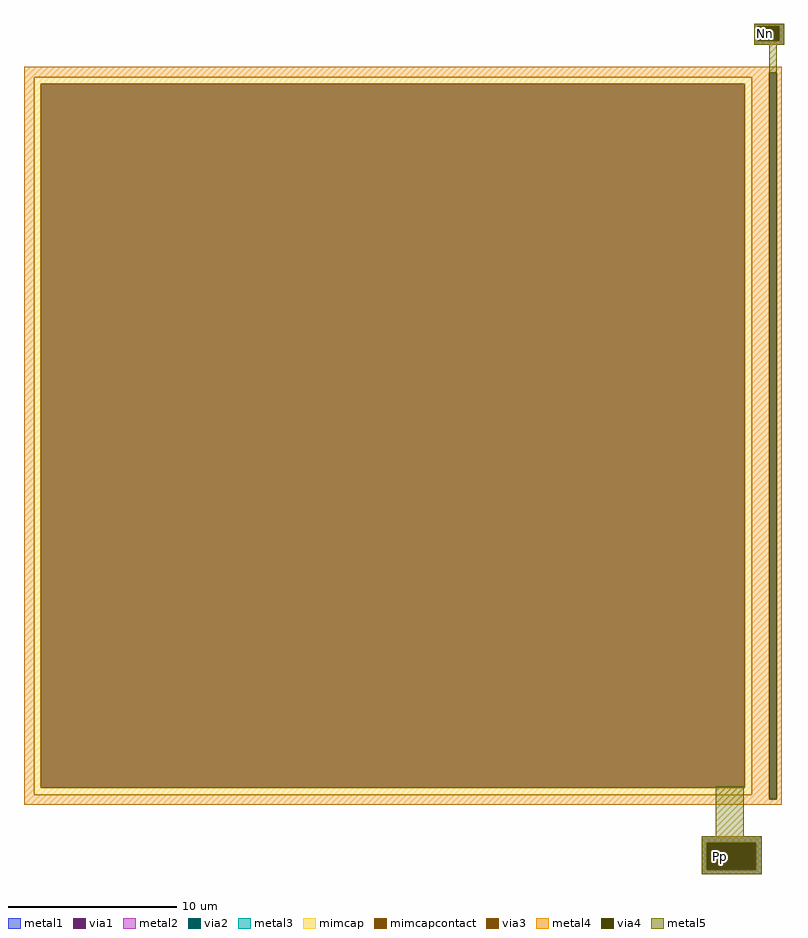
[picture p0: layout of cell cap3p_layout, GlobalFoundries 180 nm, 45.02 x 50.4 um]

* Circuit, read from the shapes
.subckt cap3p_layout Pp Nn
XC1 Pp Nn cap_mim_2f0fF c_width=42.5u c_length=42.5u
.ends

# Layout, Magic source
magic
tech gf180mcuC
magscale 1 10
<< metal1 >>
rect 8531 9224 8884 9253
rect 8531 9048 8575 9224
rect 8830 9048 8884 9224
rect 8531 9005 8884 9048
rect 7909 -453 8620 -372
rect 7909 -774 7971 -453
rect 8552 -774 8620 -453
rect 7909 -826 8620 -774
<< via1 >>
rect 8575 9048 8830 9224
rect 7971 -774 8552 -453
<< metal2 >>
rect 8531 9224 8884 9253
rect 8531 9048 8575 9224
rect 8830 9048 8884 9224
rect 8531 9005 8884 9048
rect 7909 -453 8620 -372
rect 7909 -774 7971 -453
rect 8552 -774 8620 -453
rect 7909 -826 8620 -774
<< via2 >>
rect 8575 9048 8830 9224
rect 7971 -774 8552 -453
<< metal3 >>
rect 8531 9224 8884 9253
rect 8531 9048 8575 9224
rect 8830 9048 8884 9224
rect 8531 9005 8884 9048
rect 7909 -453 8620 -372
rect 7909 -774 7971 -453
rect 8552 -774 8620 -453
rect 7909 -826 8620 -774
<< via3 >>
rect 8575 9048 8830 9224
rect 7971 -774 8552 -453
<< metal4 >>
rect 8531 9224 8884 9253
rect 8531 9048 8575 9224
rect 8830 9048 8884 9224
rect 8531 9005 8884 9048
rect 7909 -453 8620 -372
rect 7909 -774 7971 -453
rect 8552 -774 8620 -453
rect 7909 -826 8620 -774
<< via4 >>
rect 8575 9048 8830 9224
rect 7971 -774 8552 -453
<< metal5 >>
rect 8531 9224 8884 9253
rect 8531 9048 8575 9224
rect 8830 9048 8884 9224
rect 8531 9005 8884 9048
rect 8710 8683 8798 9005
rect 8078 -372 8409 217
rect 7909 -453 8620 -372
rect 7909 -774 7971 -453
rect 8552 -774 8620 -453
rect 7909 -826 8620 -774
use mim_2p0fF_WS3THJ  mim_2p0fF_WS3THJ_0
transform 1 0 4370 0 1 4370
box -4490 -4370 4490 4370
<< labels >>
flabel via4 8135 -616 8135 -616 0 FreeSans 800 0 0 0 Pp
port 0 nsew
flabel via4 8665 9137 8665 9137 0 FreeSans 800 0 0 0 Nn
port 1 nsew
<< end >>

# cell mim_2p0fF_WS3THJ: kit device mim_2p0fF, w 42.5 l 42.5 val 48.556k carea 25.00 cperi 20.00 nx 1 ny 1 dummy 0 square 0 lmin 5.00 wmin 5.00 lmax 100.0 wmax 100.0 dc 0 bconnect 0 tconnect 0
